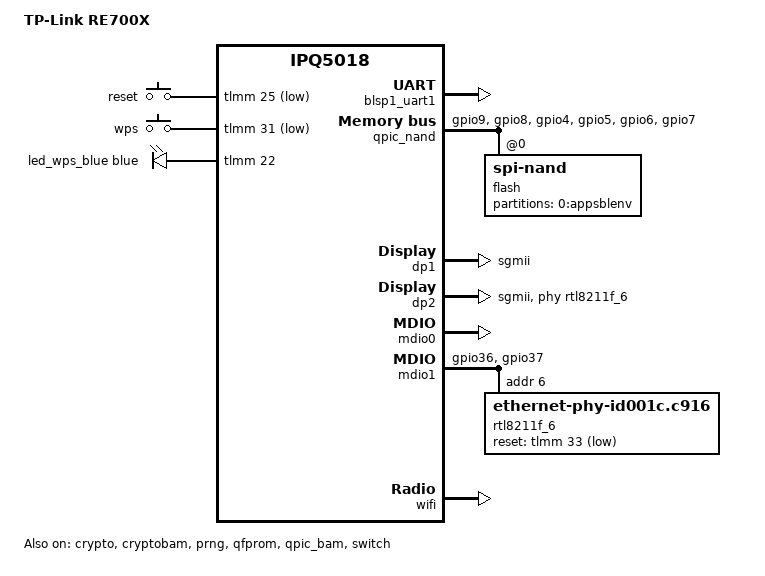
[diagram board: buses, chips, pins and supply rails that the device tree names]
// SPDX-License-Identifier: GPL-2.0-or-later OR MIT

/dts-v1/;

#include "ipq5018.dtsi"
#include "ipq5018-ess.dtsi"
#include "ipq5018-qcn6122.dtsi"

#include <dt-bindings/gpio/gpio.h>
#include <dt-bindings/input/input.h>
#include <dt-bindings/leds/common.h>

/ {
	model = "TP-Link RE700X";
	compatible = "tplink,re700x", "qcom,ipq5018";

	aliases {
		ethernet0 = &dp1;
		ethernet1 = &dp2;
		label-mac-device = <&dp2>;
		led-boot = &led_wps_blue;
		led-failsafe = &led_wps_blue;
		led-running = &led_wps_blue;
		led-upgrade = &led_wps_blue;
		serial0 = &blsp1_uart1;
	};

	chosen {
		bootargs = "console=ttyMSM0,115200,n8 coherent_pool=2M";
		stdout-path = "serial0:115200n8";
	};

	keys {
		compatible = "gpio-keys-polled";
		poll-interval = <100>;
		pinctrl-0 = <&button_pins>;
		pinctrl-names = "default";

		button-reset {
			label = "reset";
			gpios = <&tlmm 25 GPIO_ACTIVE_LOW>;
			linux,code = <KEY_RESTART>;
		};

		button-wps {
			label = "wps";
			gpios = <&tlmm 31 GPIO_ACTIVE_LOW>;
			linux,code = <KEY_WPS_BUTTON>;
		};
	};

	leds {
		compatible = "gpio-leds";
		pinctrl-0 = <&led_pins>;
		pinctrl-names = "default";

		led_power: power {
			gpios = <&tlmm 38 GPIO_ACTIVE_HIGH>;
			color = <LED_COLOR_ID_GREEN>;
			function = LED_FUNCTION_POWER;
			linux,default-trigger = "heartbeat";
			status = "disabled";
		};

		led_wps_red: wps-red {
			gpios = <&tlmm 18 GPIO_ACTIVE_HIGH>;
			color = <LED_COLOR_ID_RED>;
			function = LED_FUNCTION_WPS;
			default-state = "off";
			status = "disabled";
		};

		led_wps_blue: wps-blue {
			gpios = <&tlmm 22 GPIO_ACTIVE_HIGH>;
			color = <LED_COLOR_ID_BLUE>;
			function = LED_FUNCTION_WPS;
			default-state = "off";
		};

		wlan-2g {
			gpios = <&tlmm 39 GPIO_ACTIVE_HIGH>;
			color = <LED_COLOR_ID_GREEN>;
			function = "wlan2g";
			default-state = "off";
			status = "disabled";
		};

		wlan-5g {
			gpios = <&tlmm 13 GPIO_ACTIVE_HIGH>;
			color = <LED_COLOR_ID_GREEN>;
			function = "wlan5g";
			default-state = "off";
			status = "disabled";
		};
	};
};

&sleep_clk {
	clock-frequency = <32000>;
};

&xo_board_clk {
	clock-div = <4>;
	clock-mult = <1>;
};

&blsp1_uart1 {
	status = "okay";
};

&crypto {
	status = "okay";
};

&cryptobam {
	status = "okay";
};

&prng {
	status = "okay";
};

&qfprom {
	status = "okay";
};

&qpic_bam {
	status = "okay";
};

&qpic_nand {
	pinctrl-0 = <&qpic_pins>;
	pinctrl-names = "default";
	status = "okay";

	flash@0 {
		compatible = "spi-nand";
		reg = <0>;
		nand-ecc-engine = <&qpic_nand>;

		/* strength=8 breaks NAND I/O, use 4 instead */
		nand-ecc-strength = <4>;
		nand-ecc-step-size = <512>;
		nand-bus-width = <8>;

		partitions {
			compatible = "qcom,smem-part";

			partition-0-appsblenv {
				label = "0:appsblenv";

				nvmem-layout {
					compatible = "u-boot,env";
					env-size = <0x40000>;

					macaddr_appsblenv_ethaddr: ethaddr {
						#nvmem-cell-cells = <1>;
					};
				};
			};
		};
	};
};

&switch {
	status = "okay";

	switch_mac_mode = <MAC_MODE_SGMII_CHANNEL0>;

	qcom,port_phyinfo {
		port@1 {
			port_id = <1>;
			mdiobus = <&mdio0>;
			phy_address = <7>;
		};

		port@2 {
			port_id = <2>;
			mdiobus = <&mdio1>;
			phy_address = <6>;
			port_mac_sel = "QGMAC_PORT";
		};
	};
};

&dp1 {
	status = "okay";

	label = "wan";
	qcom,link-poll = <1>;
	qcom,phy-mdio-addr = <7>;
	mdio-bus = <&mdio0>;
	nvmem-cells = <&macaddr_appsblenv_ethaddr 2>;
	nvmem-cell-names = "mac-address";
	phy-mode = "sgmii";
};

&dp2 {
	status = "okay";

	label = "lan";
	phy-handle = <&rtl8211f_6>;
	nvmem-cells = <&macaddr_appsblenv_ethaddr 0>;
	nvmem-cell-names = "mac-address";
	phy-mode = "sgmii";
};

&mdio0 {
	status = "okay";
};

&ge_phy {
	qcom,dac-preset-short-cable;
};

&mdio1 {
	status = "okay";

	pinctrl-0 = <&mdio1_pins>;
	pinctrl-names = "default";

	rtl8211f_6: ethernet-phy@6 {
		compatible = "ethernet-phy-id001c.c916";
		reg = <6>;
		reset-assert-us = <200000>;
		reset-deassert-us = <10000>;
		reset-gpios = <&tlmm 33 GPIO_ACTIVE_LOW>;
	};
};

&tlmm {
	button_pins: button-state {
		pins = "gpio25", "gpio31";
		function = "gpio";
		drive-strength = <8>;
		bias-pull-up;
	};

	led_pins: led-state {
		pins = "gpio22";
		function = "gpio";
		drive-strength = <8>;
		bias-pull-down;
	};

	mdio1_pins: mdio-state {
		mdc-pins {
			pins = "gpio36";
			function = "mdc";
			drive-strength = <8>;
			bias-pull-up;
		};

		mdio-pins {
			pins = "gpio37";
			function = "mdio";
			drive-strength = <8>;
			bias-pull-up;
		};
	};

	qpic_pins: qpic-state {
		clock-pins {
			pins = "gpio9";
			function = "qspi_clk";
			drive-strength = <8>;
			bias-disable;
		};

		cs-pins {
			pins = "gpio8";
			function = "qspi_cs";
			drive-strength = <8>;
			bias-disable;
		};

		data-pins {
			pins = "gpio4", "gpio5", "gpio6", "gpio7";
			function = "qspi_data";
			drive-strength = <8>;
			bias-disable;
		};
	};

};

&q6v5_wcss {
	boot-args = <0x1 4 2 15 0 0>;
};

&wifi {
	status = "okay";

	qcom,rproc = <&q6_wcss_pd1>;
	qcom,userpd-subsys-name = "q6v5_wcss_userpd1";
	qcom,ath11k-calibration-variant = "TP-Link-RE700X";
	qcom,ath11k-fw-memory-mode = <1>;
	qcom,bdf-addr = <0x4c400000>;

	ieee80211-freq-limit = <2400000 2483000>;
};

&wifi1 {
	status = "disabled";

	qcom,rproc = <&q6_wcss_pd2>;
	qcom,userpd-subsys-name = "q6v5_wcss_userpd2";
	qcom,ath11k-calibration-variant = "TP-Link-RE700X";
	qcom,ath11k-fw-memory-mode = <1>;
	qcom,bdf-addr = <0x4d200000>;
	qcom,m3-dump-addr = <0x4de00000>;

	ieee80211-freq-limit = <5150000 5730000>;
};
